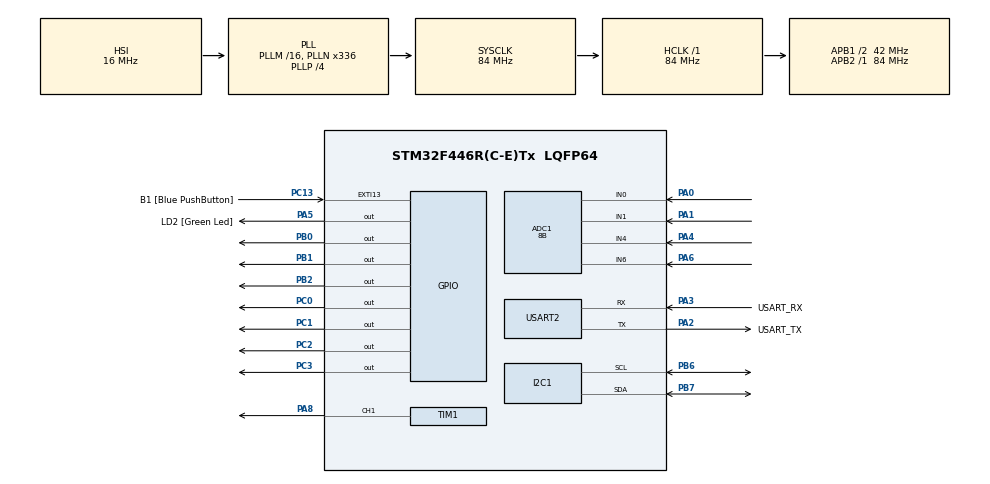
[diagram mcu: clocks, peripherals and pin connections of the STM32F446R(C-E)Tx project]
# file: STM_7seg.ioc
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ADC1.Channel-0\#ChannelRegularConversion=ADC_CHANNEL_0
ADC1.Channel-1\#ChannelRegularConversion=ADC_CHANNEL_1
ADC1.Channel-2\#ChannelRegularConversion=ADC_CHANNEL_4
ADC1.Channel-3\#ChannelRegularConversion=ADC_CHANNEL_6
ADC1.ContinuousConvMode=DISABLE
ADC1.DMAContinuousRequests=ENABLE
ADC1.NbrOfConversion=4
ADC1.NbrOfConversionFlag=1
ADC1.Rank-0\#ChannelRegularConversion=1
ADC1.Rank-1\#ChannelRegularConversion=2
ADC1.Rank-2\#ChannelRegularConversion=3
ADC1.Rank-3\#ChannelRegularConversion=4
ADC1.Resolution=ADC_RESOLUTION_8B
ADC1.SamplingTime-0\#ChannelRegularConversion=ADC_SAMPLETIME_15CYCLES
ADC1.SamplingTime-1\#ChannelRegularConversion=ADC_SAMPLETIME_15CYCLES
ADC1.SamplingTime-2\#ChannelRegularConversion=ADC_SAMPLETIME_15CYCLES
ADC1.SamplingTime-3\#ChannelRegularConversion=ADC_SAMPLETIME_15CYCLES
ADC1.ScanConvMode=ENABLE
ADC1.master=1
Dma.ADC1.0.Direction=DMA_PERIPH_TO_MEMORY
Dma.ADC1.0.FIFOMode=DMA_FIFOMODE_DISABLE
Dma.ADC1.0.Instance=DMA2_Stream0
Dma.ADC1.0.MemDataAlignment=DMA_MDATAALIGN_BYTE
Dma.ADC1.0.MemInc=DMA_MINC_ENABLE
Dma.ADC1.0.Mode=DMA_NORMAL
Dma.ADC1.0.PeriphDataAlignment=DMA_PDATAALIGN_BYTE
Dma.ADC1.0.PeriphInc=DMA_PINC_DISABLE
Dma.ADC1.0.Priority=DMA_PRIORITY_LOW
Dma.Request0=ADC1
Dma.Request1=TIM1_CH1
Dma.TIM1_CH1.1.Direction=DMA_MEMORY_TO_PERIPH
Dma.TIM1_CH1.1.FIFOMode=DMA_FIFOMODE_DISABLE
Dma.TIM1_CH1.1.Instance=DMA2_Stream1
Dma.TIM1_CH1.1.MemDataAlignment=DMA_MDATAALIGN_HALFWORD
Dma.TIM1_CH1.1.MemInc=DMA_MINC_ENABLE
Dma.TIM1_CH1.1.Mode=DMA_NORMAL
Dma.TIM1_CH1.1.PeriphDataAlignment=DMA_PDATAALIGN_HALFWORD
Dma.TIM1_CH1.1.PeriphInc=DMA_PINC_DISABLE
Dma.TIM1_CH1.1.Priority=DMA_PRIORITY_HIGH
Mcu.Family=STM32F4
Mcu.Name=STM32F446R(C-E)Tx
Mcu.Package=LQFP64
NVIC.DMA2_Stream0_IRQn=true\:0\:0\:false\:false\:true\:false\:true\:true
NVIC.DMA2_Stream1_IRQn=true\:0\:0\:false\:false\:true\:false\:true\:true
NVIC.I2C1_ER_IRQn=true\:0\:0\:false\:false\:true\:true\:true\:true
NVIC.I2C1_EV_IRQn=true\:0\:0\:false\:false\:true\:true\:true\:true
NVIC.PriorityGroup=NVIC_PRIORITYGROUP_0
PA0-WKUP.Signal=ADCx_IN0
PA1.Signal=ADCx_IN1
PA13.GPIO_Label=TMS
PA13.Mode=Serial_Wire
PA13.Signal=SYS_JTMS-SWDIO
PA14.GPIO_Label=TCK
PA14.Mode=Serial_Wire
PA14.Signal=SYS_JTCK-SWCLK
PA2.GPIO_Label=USART_TX
PA2.Mode=Asynchronous
PA2.Signal=USART2_TX
PA3.GPIO_Label=USART_RX
PA3.Mode=Asynchronous
PA3.Signal=USART2_RX
PA4.Signal=ADCx_IN4
PA5.GPIO_Label=LD2 [Green Led]
PA5.Signal=GPIO_Output
PA6.Signal=ADCx_IN6
PA8.Signal=S_TIM1_CH1
PB0.Signal=GPIO_Output
PB1.Signal=GPIO_Output
PB2.Signal=GPIO_Output
PB3.GPIO_Label=SWO
PB3.Signal=SYS_JTDO-SWO
PB6.GPIO_Pu=GPIO_PULLUP
PB6.Mode=I2C
PB6.Signal=I2C1_SCL
PB7.GPIO_Pu=GPIO_PULLUP
PB7.Mode=I2C
PB7.Signal=I2C1_SDA
PC0.Signal=GPIO_Output
PC1.Signal=GPIO_Output
PC13.GPIO_Label=B1 [Blue PushButton]
PC13.GPIO_ModeDefaultEXTI=GPIO_MODE_IT_FALLING
PC13.Signal=GPXTI13
PC14-OSC32_IN.Mode=LSE-External-Oscillator
PC14-OSC32_IN.Signal=RCC_OSC32_IN
PC15-OSC32_OUT.Mode=LSE-External-Oscillator
PC15-OSC32_OUT.Signal=RCC_OSC32_OUT
PC2.Signal=GPIO_Output
PC3.Signal=GPIO_Output
PH0-OSC_IN.Mode=HSE-External-Oscillator
PH0-OSC_IN.Signal=RCC_OSC_IN
PH1-OSC_OUT.Mode=HSE-External-Oscillator
PH1-OSC_OUT.Signal=RCC_OSC_OUT
ProjectManager.HeapSize=0x200
ProjectManager.StackSize=0x400
ProjectManager.TargetToolchain=STM32CubeIDE
RCC.48MHZClocksFreq_Value=84000000
RCC.AHBFreq_Value=84000000
RCC.APB1CLKDivider=RCC_HCLK_DIV2
RCC.APB1Freq_Value=42000000
RCC.APB1TimFreq_Value=84000000
RCC.APB2Freq_Value=84000000
RCC.APB2TimFreq_Value=84000000
RCC.CortexFreq_Value=84000000
RCC.FLatency-AdvancedSettings=FLASH_LATENCY_2
RCC.HCLKFreq_Value=84000000
RCC.HSE_VALUE=8000000
RCC.HSI_VALUE=16000000
RCC.PLLN=336
RCC.PLLP=RCC_PLLP_DIV4
RCC.SYSCLKFreq_VALUE=84000000
RCC.SYSCLKSource=RCC_SYSCLKSOURCE_PLLCLK
RCC.USBFreq_Value=168000000
RCC.VCOOutputFreq_Value=336000000
SH.ADCx_IN0.0=ADC1_IN0,IN0
SH.ADCx_IN1.0=ADC1_IN1,IN1
SH.ADCx_IN4.0=ADC1_IN4,IN4
SH.ADCx_IN6.0=ADC1_IN6,IN6
SH.S_TIM1_CH1.0=TIM1_CH1,PWM Generation1 CH1
TIM1.Channel-PWM\ Generation1\ CH1=TIM_CHANNEL_1
TIM1.Period=105-1
USART2.VirtualMode=VM_ASYNC
VP_TIM1_VS_ClockSourceINT.Mode=Internal
board=NUCLEO-F446RE

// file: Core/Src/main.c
/* USER CODE BEGIN Header */
/**
  ******************************************************************************
  * @file           : main.c
  * @brief          : Main program body
  ******************************************************************************
  * @attention
  *
  * Copyright (c) 2026 STMicroelectronics.
  * All rights reserved.
  *
  * This software is licensed under terms that can be found in the LICENSE file
  * in the root directory of this software component.
  * If no LICENSE file comes with this software, it is provided AS-IS.
  *
  ******************************************************************************
  */
/* USER CODE END Header */
#include "main.h"

/* USER CODE BEGIN Includes */
#include "Neopixel.h"
/* USER CODE END Includes */

ADC_HandleTypeDef hadc1;
DMA_HandleTypeDef hdma_adc1;

I2C_HandleTypeDef hi2c1;

TIM_HandleTypeDef htim1;
DMA_HandleTypeDef hdma_tim1_ch1;

UART_HandleTypeDef huart2;

/* USER CODE BEGIN PV */
uint8_t lecturas_sensores[4];
float brilloled = 50.0f;

// Buffers para I2C
uint8_t aTxBuffer[4] = {0, 0, 0, 0}; // Estado de los 4 parqueos (0=Libre, 1=Ocupado)
uint8_t aRxBuffer[2] = {0};          // [0]=cmd ('S' o 'N'), [1]=conteo de libres del vecino
volatile uint8_t vecino_libres = 0;  // Libres reportados por STM_TFT
/* USER CODE END PV */

void SystemClock_Config(void);
static void MX_GPIO_Init(void);
static void MX_DMA_Init(void);
static void MX_ADC1_Init(void);
static void MX_USART2_UART_Init(void);
static void MX_TIM1_Init(void);
static void MX_I2C1_Init(void);
/* USER CODE BEGIN PFP */
void mostrar_parqueos_libres(uint8_t numero);
/* USER CODE END PFP */

int main(void)
{

  /* MCU Configuration--------------------------------------------------------*/

  /* Reset of all peripherals, Initializes the Flash interface and the Systick. */
  HAL_Init();

  /* Configure the system clock */
  SystemClock_Config();

  /* Initialize all configured peripherals */
  MX_GPIO_Init();
  MX_DMA_Init();
  MX_ADC1_Init();
  MX_USART2_UART_Init();
  MX_TIM1_Init();
  MX_I2C1_Init();

  /* USER CODE BEGIN 2 */
  HAL_ADC_Start_DMA(&hadc1, (uint32_t*)lecturas_sensores, 4);
  setBrightness(25);
  pixelClear();
  pixelShow();

  // Iniciar a escuchar peticiones I2C del ESP32 maestro sin detenerse si hay un fallo inicial
  HAL_I2C_EnableListen_IT(&hi2c1);

  HAL_Delay(1000);
  /* USER CODE END 2 */

  /* Infinite loop */
  while (1)
  {

    /* USER CODE BEGIN 3 */
      HAL_ADC_Start_DMA(&hadc1, (uint32_t*)lecturas_sensores, 4);
      HAL_Delay(20);
      HAL_ADC_Stop_DMA(&hadc1);

      uint8_t libres = 0;

      for(int i = 0; i < 4; i++) {
          if(lecturas_sensores[i] < 230) {
              // Valor menor a 230 -> Color VERDE (DISPONIBLE)
              setPixelColor(i, 0, 255, 0);
              aTxBuffer[i] = 0; // Se envía al ESP32 que está libre
              libres++;
          } else {
              // Valor mayor o igual a 230 -> Color ROJO (OCUPADO)
              setPixelColor(i, 255, 0, 0);
              aTxBuffer[i] = 1; // Se envía al ESP32 que está ocupado
          }
      }
      pixelShow();

      // Actualizamos el display de 7 segmentos con el total (propios + vecino)
      uint8_t total = libres + vecino_libres;
      if (total > 8) total = 8;     // safety clamp
      mostrar_parqueos_libres(total);

      HAL_Delay(50);
  }
  /* USER CODE END 3 */
}

void SystemClock_Config(void)
{
  RCC_OscInitTypeDef RCC_OscInitStruct = {0};
  RCC_ClkInitTypeDef RCC_ClkInitStruct = {0};

  /** Configure the main internal regulator output voltage
  */
  __HAL_RCC_PWR_CLK_ENABLE();
  __HAL_PWR_VOLTAGESCALING_CONFIG(PWR_REGULATOR_VOLTAGE_SCALE3);

  /** Initializes the RCC Oscillators according to the specified parameters
  * in the RCC_OscInitTypeDef structure.
  */
  RCC_OscInitStruct.OscillatorType = RCC_OSCILLATORTYPE_HSI;
  RCC_OscInitStruct.HSIState = RCC_HSI_ON;
  RCC_OscInitStruct.HSICalibrationValue = RCC_HSICALIBRATION_DEFAULT;
  RCC_OscInitStruct.PLL.PLLState = RCC_PLL_ON;
  RCC_OscInitStruct.PLL.PLLSource = RCC_PLLSOURCE_HSI;
  RCC_OscInitStruct.PLL.PLLM = 16;
  RCC_OscInitStruct.PLL.PLLN = 336;
  RCC_OscInitStruct.PLL.PLLP = RCC_PLLP_DIV4;
  RCC_OscInitStruct.PLL.PLLQ = 2;
  RCC_OscInitStruct.PLL.PLLR = 2;
  if (HAL_RCC_OscConfig(&RCC_OscInitStruct) != HAL_OK)
  {
    Error_Handler();
  }

  /** Initializes the CPU, AHB and APB buses clocks
  */
  RCC_ClkInitStruct.ClockType = RCC_CLOCKTYPE_HCLK|RCC_CLOCKTYPE_SYSCLK
                              |RCC_CLOCKTYPE_PCLK1|RCC_CLOCKTYPE_PCLK2;
  RCC_ClkInitStruct.SYSCLKSource = RCC_SYSCLKSOURCE_PLLCLK;
  RCC_ClkInitStruct.AHBCLKDivider = RCC_SYSCLK_DIV1;
  RCC_ClkInitStruct.APB1CLKDivider = RCC_HCLK_DIV2;
  RCC_ClkInitStruct.APB2CLKDivider = RCC_HCLK_DIV1;

  if (HAL_RCC_ClockConfig(&RCC_ClkInitStruct, FLASH_LATENCY_2) != HAL_OK)
  {
    Error_Handler();
  }
}

static void MX_ADC1_Init(void)
{
  ADC_ChannelConfTypeDef sConfig = {0};

  /** Configure the global features of the ADC (Clock, Resolution, Data Alignment and number of conversion)
  */
  hadc1.Instance = ADC1;
  hadc1.Init.ClockPrescaler = ADC_CLOCK_SYNC_PCLK_DIV4;
  hadc1.Init.Resolution = ADC_RESOLUTION_8B;
  hadc1.Init.ScanConvMode = ENABLE;
  hadc1.Init.ContinuousConvMode = DISABLE;
  hadc1.Init.DiscontinuousConvMode = DISABLE;
  hadc1.Init.ExternalTrigConvEdge = ADC_EXTERNALTRIGCONVEDGE_NONE;
  hadc1.Init.ExternalTrigConv = ADC_SOFTWARE_START;
  hadc1.Init.DataAlign = ADC_DATAALIGN_RIGHT;
  hadc1.Init.NbrOfConversion = 4;
  hadc1.Init.DMAContinuousRequests = ENABLE;
  hadc1.Init.EOCSelection = ADC_EOC_SINGLE_CONV;
  if (HAL_ADC_Init(&hadc1) != HAL_OK)
  {
    Error_Handler();
  }

  /** Configure for the selected ADC regular channel its corresponding rank in the sequencer and its sample time.
  */
  sConfig.Channel = ADC_CHANNEL_0;
  sConfig.Rank = 1;
  sConfig.SamplingTime = ADC_SAMPLETIME_15CYCLES;
  if (HAL_ADC_ConfigChannel(&hadc1, &sConfig) != HAL_OK)
  {
    Error_Handler();
  }

  /** Configure for the selected ADC regular channel its corresponding rank in the sequencer and its sample time.
  */
  sConfig.Channel = ADC_CHANNEL_1;
  sConfig.Rank = 2;
  if (HAL_ADC_ConfigChannel(&hadc1, &sConfig) != HAL_OK)
  {
    Error_Handler();
  }

  /** Configure for the selected ADC regular channel its corresponding rank in the sequencer and its sample time.
  */
  sConfig.Channel = ADC_CHANNEL_4;
  sConfig.Rank = 3;
  if (HAL_ADC_ConfigChannel(&hadc1, &sConfig) != HAL_OK)
  {
    Error_Handler();
  }

  /** Configure for the selected ADC regular channel its corresponding rank in the sequencer and its sample time.
  */
  sConfig.Channel = ADC_CHANNEL_6;
  sConfig.Rank = 4;
  if (HAL_ADC_ConfigChannel(&hadc1, &sConfig) != HAL_OK)
  {
    Error_Handler();
  }
}

static void MX_I2C1_Init(void)
{
  hi2c1.Instance = I2C1;
  hi2c1.Init.ClockSpeed = 100000;
  hi2c1.Init.DutyCycle = I2C_DUTYCYCLE_2;
  // 0x18 << 1 = 0x30
  hi2c1.Init.OwnAddress1 = 0x30;
  hi2c1.Init.AddressingMode = I2C_ADDRESSINGMODE_7BIT;
  hi2c1.Init.DualAddressMode = I2C_DUALADDRESS_DISABLE;
  hi2c1.Init.OwnAddress2 = 0;
  hi2c1.Init.GeneralCallMode = I2C_GENERALCALL_DISABLE;
  hi2c1.Init.NoStretchMode = I2C_NOSTRETCH_DISABLE;
  if (HAL_I2C_Init(&hi2c1) != HAL_OK)
  {
    Error_Handler();
  }
}

static void MX_TIM1_Init(void)
{
  TIM_ClockConfigTypeDef sClockSourceConfig = {0};
  TIM_MasterConfigTypeDef sMasterConfig = {0};
  TIM_OC_InitTypeDef sConfigOC = {0};
  TIM_BreakDeadTimeConfigTypeDef sBreakDeadTimeConfig = {0};

  htim1.Instance = TIM1;
  htim1.Init.Prescaler = 0;
  htim1.Init.CounterMode = TIM_COUNTERMODE_UP;
  htim1.Init.Period = 105-1;
  htim1.Init.ClockDivision = TIM_CLOCKDIVISION_DIV1;
  htim1.Init.RepetitionCounter = 0;
  htim1.Init.AutoReloadPreload = TIM_AUTORELOAD_PRELOAD_DISABLE;
  if (HAL_TIM_Base_Init(&htim1) != HAL_OK)
  {
    Error_Handler();
  }
  sClockSourceConfig.ClockSource = TIM_CLOCKSOURCE_INTERNAL;
  if (HAL_TIM_ConfigClockSource(&htim1, &sClockSourceConfig) != HAL_OK)
  {
    Error_Handler();
  }
  if (HAL_TIM_PWM_Init(&htim1) != HAL_OK)
  {
    Error_Handler();
  }
  sMasterConfig.MasterOutputTrigger = TIM_TRGO_RESET;
  sMasterConfig.MasterSlaveMode = TIM_MASTERSLAVEMODE_DISABLE;
  if (HAL_TIMEx_MasterConfigSynchronization(&htim1, &sMasterConfig) != HAL_OK)
  {
    Error_Handler();
  }
  sConfigOC.OCMode = TIM_OCMODE_PWM1;
  sConfigOC.Pulse = 0;
  sConfigOC.OCPolarity = TIM_OCPOLARITY_HIGH;
  sConfigOC.OCNPolarity = TIM_OCNPOLARITY_HIGH;
  sConfigOC.OCFastMode = TIM_OCFAST_DISABLE;
  sConfigOC.OCIdleState = TIM_OCIDLESTATE_RESET;
  sConfigOC.OCNIdleState = TIM_OCNIDLESTATE_RESET;
  if (HAL_TIM_PWM_ConfigChannel(&htim1, &sConfigOC, TIM_CHANNEL_1) != HAL_OK)
  {
    Error_Handler();
  }
  sBreakDeadTimeConfig.OffStateRunMode = TIM_OSSR_DISABLE;
  sBreakDeadTimeConfig.OffStateIDLEMode = TIM_OSSI_DISABLE;
  sBreakDeadTimeConfig.LockLevel = TIM_LOCKLEVEL_OFF;
  sBreakDeadTimeConfig.DeadTime = 0;
  sBreakDeadTimeConfig.BreakState = TIM_BREAK_DISABLE;
  sBreakDeadTimeConfig.BreakPolarity = TIM_BREAKPOLARITY_HIGH;
  sBreakDeadTimeConfig.AutomaticOutput = TIM_AUTOMATICOUTPUT_DISABLE;
  if (HAL_TIMEx_ConfigBreakDeadTime(&htim1, &sBreakDeadTimeConfig) != HAL_OK)
  {
    Error_Handler();
  }
  HAL_TIM_MspPostInit(&htim1);
}

static void MX_USART2_UART_Init(void)
{
  huart2.Instance = USART2;
  huart2.Init.BaudRate = 115200;
  huart2.Init.WordLength = UART_WORDLENGTH_8B;
  huart2.Init.StopBits = UART_STOPBITS_1;
  huart2.Init.Parity = UART_PARITY_NONE;
  huart2.Init.Mode = UART_MODE_TX_RX;
  huart2.Init.HwFlowCtl = UART_HWCONTROL_NONE;
  huart2.Init.OverSampling = UART_OVERSAMPLING_16;
  if (HAL_UART_Init(&huart2) != HAL_OK)
  {
    Error_Handler();
  }
}

static void MX_DMA_Init(void)
{
  /* DMA controller clock enable */
  __HAL_RCC_DMA2_CLK_ENABLE();

  /* DMA interrupt init */
  /* DMA2_Stream0_IRQn interrupt configuration */
  HAL_NVIC_SetPriority(DMA2_Stream0_IRQn, 0, 0);
  HAL_NVIC_EnableIRQ(DMA2_Stream0_IRQn);
  /* DMA2_Stream1_IRQn interrupt configuration */
  HAL_NVIC_SetPriority(DMA2_Stream1_IRQn, 0, 0);
  HAL_NVIC_EnableIRQ(DMA2_Stream1_IRQn);
}

static void MX_GPIO_Init(void)
{
  GPIO_InitTypeDef GPIO_InitStruct = {0};

  /* GPIO Ports Clock Enable */
  __HAL_RCC_GPIOC_CLK_ENABLE();
  __HAL_RCC_GPIOH_CLK_ENABLE();
  __HAL_RCC_GPIOA_CLK_ENABLE();
  __HAL_RCC_GPIOB_CLK_ENABLE();

  /*Configure GPIO pin Output Level */
  HAL_GPIO_WritePin(GPIOC, GPIO_PIN_0|GPIO_PIN_1|GPIO_PIN_2|GPIO_PIN_3, GPIO_PIN_RESET);

  /*Configure GPIO pin Output Level */
  HAL_GPIO_WritePin(LD2_GPIO_Port, LD2_Pin, GPIO_PIN_RESET);

  /*Configure GPIO pin Output Level */
  HAL_GPIO_WritePin(GPIOB, GPIO_PIN_0|GPIO_PIN_1|GPIO_PIN_2, GPIO_PIN_RESET);

  /*Configure GPIO pin : B1_Pin */
  GPIO_InitStruct.Pin = B1_Pin;
  GPIO_InitStruct.Mode = GPIO_MODE_IT_FALLING;
  GPIO_InitStruct.Pull = GPIO_NOPULL;
  HAL_GPIO_Init(B1_GPIO_Port, &GPIO_InitStruct);

  /*Configure GPIO pins : PC0 PC1 PC2 PC3 */
  GPIO_InitStruct.Pin = GPIO_PIN_0|GPIO_PIN_1|GPIO_PIN_2|GPIO_PIN_3;
  GPIO_InitStruct.Mode = GPIO_MODE_OUTPUT_PP;
  GPIO_InitStruct.Pull = GPIO_NOPULL;
  GPIO_InitStruct.Speed = GPIO_SPEED_FREQ_LOW;
  HAL_GPIO_Init(GPIOC, &GPIO_InitStruct);

  /*Configure GPIO pin : LD2_Pin */
  GPIO_InitStruct.Pin = LD2_Pin;
  GPIO_InitStruct.Mode = GPIO_MODE_OUTPUT_PP;
  GPIO_InitStruct.Pull = GPIO_NOPULL;
  GPIO_InitStruct.Speed = GPIO_SPEED_FREQ_LOW;
  HAL_GPIO_Init(LD2_GPIO_Port, &GPIO_InitStruct);

  /*Configure GPIO pins : PB0 PB1 PB2 */
  GPIO_InitStruct.Pin = GPIO_PIN_0|GPIO_PIN_1|GPIO_PIN_2;
  GPIO_InitStruct.Mode = GPIO_MODE_OUTPUT_PP;
  GPIO_InitStruct.Pull = GPIO_NOPULL;
  GPIO_InitStruct.Speed = GPIO_SPEED_FREQ_LOW;
  HAL_GPIO_Init(GPIOB, &GPIO_InitStruct);
}

/* USER CODE BEGIN 4 */

void HAL_I2C_ListenCpltCallback(I2C_HandleTypeDef *hi2c){
    HAL_I2C_EnableListen_IT(hi2c);
}

void HAL_I2C_AddrCallback(I2C_HandleTypeDef *hi2c, uint8_t TransferDirection, uint16_t AddrMatchCode){
    if(TransferDirection == I2C_DIRECTION_TRANSMIT){
        // El Maestro (ESP32) quiere transmitir, la STM32 debe RECIBIR
        HAL_I2C_Slave_Seq_Receive_IT(hi2c, (uint8_t *) aRxBuffer, 2, I2C_FIRST_AND_LAST_FRAME);
    } else if (TransferDirection == I2C_DIRECTION_RECEIVE){
        // El Maestro (ESP32) quiere recibir, la STM32 debe TRANSMITIR
        HAL_I2C_Slave_Seq_Transmit_IT(hi2c, (uint8_t *) aTxBuffer, 4, I2C_FIRST_AND_LAST_FRAME);
    }
}

void HAL_I2C_SlaveRxCpltCallback(I2C_HandleTypeDef *hi2c){
    if (aRxBuffer[0] == 'N') {
        if (aRxBuffer[1] <= 4) vecino_libres = aRxBuffer[1];
    }
    aRxBuffer[0] = 0x00;
}

void HAL_I2C_ErrorCallback(I2C_HandleTypeDef *hi2c){
    // Quitamos la trampa del Error_Handler.
    // Ahora, si hay un fallo de comunicación, simplemente reactiva la escucha.
    HAL_I2C_EnableListen_IT(hi2c);
}

void mostrar_parqueos_libres(uint8_t numero) {
    // Mapeo propuesto de pines a segmentos:
    // PC0 = A, PC1 = B, PC2 = C, PC3 = D
    // PB0 = E, PB1 = F, PB2 = G

    // Variables para el estado de cada segmento (0 = Apagado, 1 = Encendido)
    // NOTA: Asumimos display Cátodo Común (1=Encendido).
    // Si tu display es de ÁNODO COMÚN, invierte los 1s por 0s y viceversa.
    uint8_t a=0, b=0, c=0, d=0, e=0, f=0, g=0;

    switch(numero) {
        case 0: a=1; b=1; c=1; d=1; e=1; f=1; g=0; break;
        case 1: a=0; b=1; c=1; d=0; e=0; f=0; g=0; break;
        case 2: a=1; b=1; c=0; d=1; e=1; f=0; g=1; break;
        case 3: a=1; b=1; c=1; d=1; e=0; f=0; g=1; break;
        case 4: a=0; b=1; c=1; d=0; e=0; f=1; g=1; break;
        case 5: a=1; b=0; c=1; d=1; e=0; f=1; g=1; break;
        case 6: a=1; b=0; c=1; d=1; e=1; f=1; g=1; break;
        case 7: a=1; b=1; c=1; d=0; e=0; f=0; g=0; break;
        case 8: a=1; b=1; c=1; d=1; e=1; f=1; g=1; break;
        default: break; // Apaga todo si hay un error o número fuera de rango
    }

    // Escribir a los pines configurados
    HAL_GPIO_WritePin(GPIOC, GPIO_PIN_0, a ? GPIO_PIN_SET : GPIO_PIN_RESET);
    HAL_GPIO_WritePin(GPIOC, GPIO_PIN_1, b ? GPIO_PIN_SET : GPIO_PIN_RESET);
    HAL_GPIO_WritePin(GPIOC, GPIO_PIN_2, c ? GPIO_PIN_SET : GPIO_PIN_RESET);
    HAL_GPIO_WritePin(GPIOC, GPIO_PIN_3, d ? GPIO_PIN_SET : GPIO_PIN_RESET);

    HAL_GPIO_WritePin(GPIOB, GPIO_PIN_0, e ? GPIO_PIN_SET : GPIO_PIN_RESET);
    HAL_GPIO_WritePin(GPIOB, GPIO_PIN_1, f ? GPIO_PIN_SET : GPIO_PIN_RESET);
    HAL_GPIO_WritePin(GPIOB, GPIO_PIN_2, g ? GPIO_PIN_SET : GPIO_PIN_RESET);
}
/* USER CODE END 4 */

void Error_Handler(void)
{
  __disable_irq();
  while (1)
  {
  }
}
